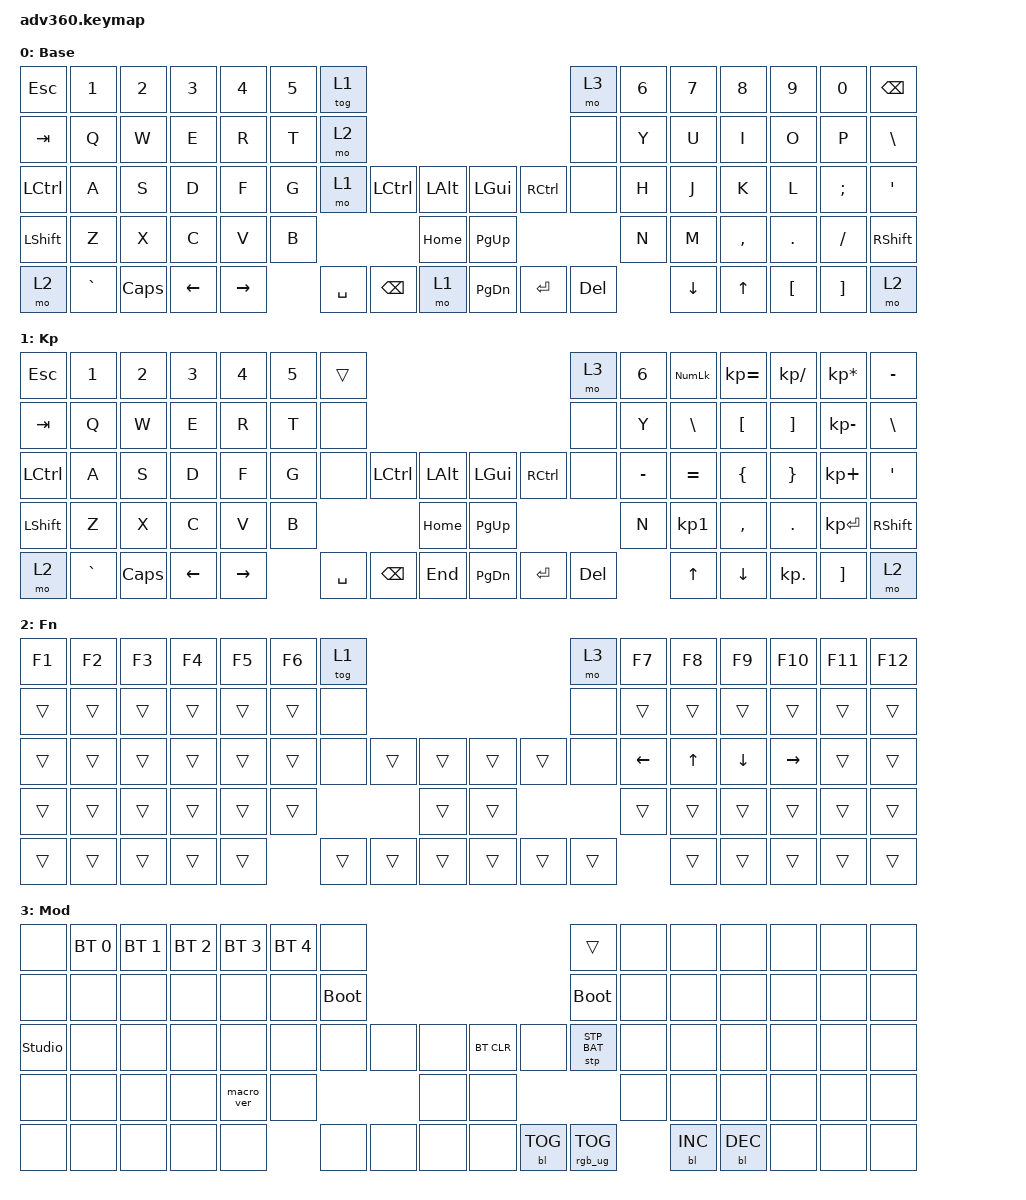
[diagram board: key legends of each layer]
#include <dt-bindings/zmk/stp.h>
#include <behaviors.dtsi>
#include <dt-bindings/zmk/backlight.h>
#include <dt-bindings/zmk/bt.h>
#include <dt-bindings/zmk/keys.h>
#include <dt-bindings/zmk/rgb.h>

/ {
    behaviors {
        #include "macros.dtsi"
      #include "version.dtsi"

        hm: homerow_mods {
            compatible = "zmk,behavior-hold-tap";
            label = "HOMEROW_MODS";
            #binding-cells = <2>;
            tapping-term-ms = <200>;
            quick_tap_ms = <175>;
            flavor = "tap-preferred";
            bindings = <&kp>, <&kp>;
        };
    };

    keymap {
        compatible = "zmk,keymap";

        default_layer {
            display-name = "Base";
            bindings = <
&kp ESCAPE        &kp N1     &kp N2    &kp N3    &kp N4     &kp N5  &tog 1                                                        &mo 3       &kp N6  &kp N7    &kp N8        &kp N9    &kp N0    &kp BACKSPACE
&kp TAB           &kp Q      &kp W     &kp E     &kp R      &kp T   &mo 2                                                         &none       &kp Y   &kp U     &kp I         &kp O     &kp P     &kp BSLH
&kp LEFT_CONTROL  &kp A      &kp S     &kp D     &kp F      &kp G   &mo 1      &kp LCTRL      &kp LALT      &kp LGUI   &kp RCTRL  &none       &kp H   &kp J     &kp K         &kp L     &kp SEMI  &kp SQT
&kp LSHFT         &kp Z      &kp X     &kp C     &kp V      &kp B                             &kp HOME      &kp PG_UP                         &kp N   &kp M     &kp COMMA     &kp DOT   &kp FSLH  &kp RSHFT
&mo 2             &kp GRAVE  &kp CAPS  &kp LEFT  &kp RIGHT          &kp SPACE  &kp BACKSPACE  &mo 1         &kp PG_DN  &kp ENTER  &kp DELETE          &kp DOWN  &kp UP_ARROW  &kp LBKT  &kp RBKT  &mo 2
            >;
        };

        keypad {
            display-name = "Kp";
            bindings = <
&kp ESCAPE  &kp N1     &kp N2    &kp N3    &kp N4     &kp N5  &trans                                                        &mo 3    &kp N6     &kp KP_NUM     &kp KP_EQUAL      &kp KP_DIVIDE      &kp KP_MULTIPLY  &kp MINUS
&kp TAB     &kp Q      &kp W     &kp E     &kp R      &kp T   &none                                                         &none    &kp Y      &kp BACKSLASH  &kp LEFT_BRACKET  &kp RIGHT_BRACKET  &kp KP_MINUS     &kp BSLH
&kp LCTRL   &kp A      &kp S     &kp D     &kp F      &kp G   &none      &kp LCTRL      &kp LALT      &kp LGUI   &kp RCTRL  &none    &kp MINUS  &kp EQUAL      &kp LEFT_BRACE    &kp RIGHT_BRACE    &kp KP_PLUS      &kp SQT
&kp LSHFT   &kp Z      &kp X     &kp C     &kp V      &kp B                             &kp HOME      &kp PG_UP                      &kp N      &kp KP_N1      &kp COMMA         &kp PERIOD         &kp KP_ENTER     &kp RSHFT
&mo 2       &kp GRAVE  &kp CAPS  &kp LEFT  &kp RIGHT          &kp SPACE  &kp BACKSPACE  &kp END       &kp PG_DN  &kp ENTER  &kp DEL             &kp UP         &kp DOWN          &kp KP_DOT         &kp RBKT         &mo 2
            >;
        };

        fn {
            display-name = "Fn";
            bindings = <
&kp F1  &kp F2  &kp F3  &kp F4  &kp F5  &kp F6  &tog 1                                      &mo 3   &kp F7    &kp F8        &kp F9    &kp F10    &kp F11  &kp F12
&trans  &trans  &trans  &trans  &trans  &trans  &none                                       &none   &trans    &trans        &trans    &trans     &trans   &trans
&trans  &trans  &trans  &trans  &trans  &trans  &none   &trans  &trans      &trans  &trans  &none   &kp LEFT  &kp UP_ARROW  &kp DOWN  &kp RIGHT  &trans   &trans
&trans  &trans  &trans  &trans  &trans  &trans                  &trans      &trans                  &trans    &trans        &trans    &trans     &trans   &trans
&trans  &trans  &trans  &trans  &trans          &trans  &trans  &trans      &trans  &trans  &trans            &trans        &trans    &trans     &trans   &trans
            >;
        };

        mod {
            display-name = "Mod";
            bindings = <
&none           &bt BT_SEL 0  &bt BT_SEL 1  &bt BT_SEL 2  &bt BT_SEL 3  &bt BT_SEL 4  &none                                                  &trans           &none  &none       &none       &none  &none  &none
&none           &none         &none         &none         &none         &none         &bootloader                                            &bootloader      &none  &none       &none       &none  &none  &none
&studio_unlock  &none         &none         &none         &none         &none         &none        &none  &none      &bt BT_CLR  &none       &stp STP_BAT     &none  &none       &none       &none  &none  &none
&none           &none         &none         &none         &macro_ver    &none                             &none      &none                                    &none  &none       &none       &none  &none  &none
&none           &none         &none         &none         &none                       &none        &none  &none      &none       &bl BL_TOG  &rgb_ug RGB_TOG         &bl BL_INC  &bl BL_DEC  &none  &none  &none
            >;
        };

        extra1 {
            display-name = "Red";
            status = "reserved";
        };

        extra2 {
            display-name = "Purple";
            status = "reserved";
        };

        extra3 {
            display-name = "Cyan";
            status = "reserved";
        };

        extra4 {
            display-name = "Yellow";
            status = "reserved";
        };
    };
};
